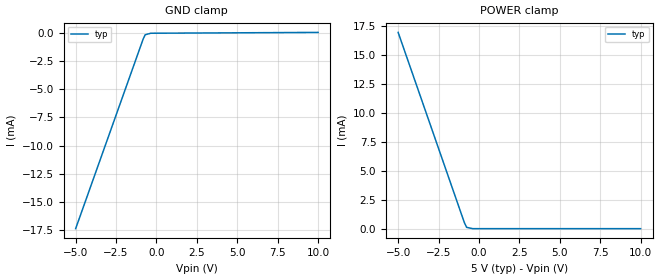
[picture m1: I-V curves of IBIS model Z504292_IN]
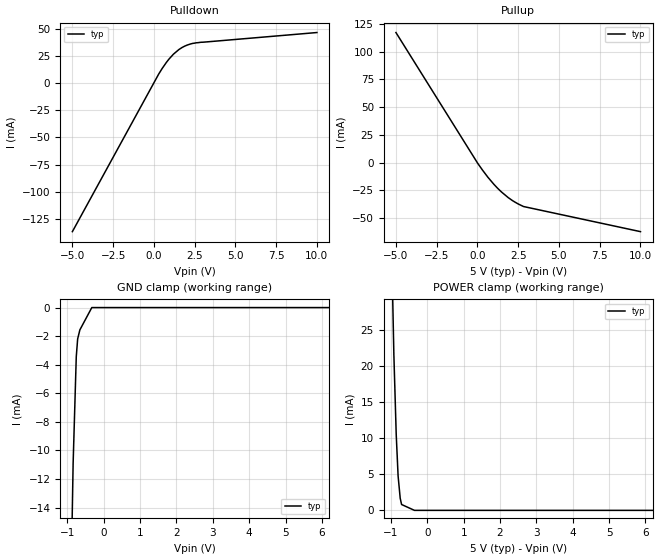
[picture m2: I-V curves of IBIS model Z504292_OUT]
| YOU ARE ONLY AUTHORIZED TO USE THIS SOFTWARE
| ACCORDING TO LICENSOR'S LICENSE RESTRICTIONS.
[IBIS Ver] 3.1
[File Name] mc54hct14aj.ibs
[File Rev] 2.0
[Source] Measured and created by ICX Technology
[Date] Friday 7/14/00 9:08:11 AM
[Copyright]
| (C) COPYRIGHT 1993-2000
| MENTOR GRAPHICS CORPORATION
| ICX STANDARD LIBRARY, ICX PROJECT MODELING,
| ICX CUSTOM MODELING, ICX VENDOR MODEL
| ALL RIGHTS RESERVED.
| THE FOLLOWING ARE TRADEMARKS OR SERVICE MARKS OF
| MENTOR GRAPHICS CORPORATION:ICX (R), ICX STANDARD
| LIBRARY(R), ICX PROJECT MODELING(R), ICX CUSTOM
| MODELING(R), qualityIBIS(TM), MODELVIEWER(TM),
| AND MODELEDITOR(TM)
| ALL COPIES OF SOFTWARE, INCLUDING BUT NOT LIMITED TO
| ANY MODIFICATIONS, ENHANCEMENTS OR DERIVATIVE WORKS,
| MUST CONTAIN ALL MENTOR GRAPHICS CORPORATION'S
| NOTICES AND LEGENDS, INCLUDING THOSE EMBEDDED IN
| SOFTWARE AND THOSE AFFIXED TO SOFTWARE MEDIUM
| AND CONTAINER, AS RECEIVED FROM MENTOR GRAPHICS
| CORPORATION.
|  ZAP Model Builder 2.7
[Component] MC54HCT14AJ
[Manufacturer] OnSemiconductor
[Package]
| variable   typ   min   max
R_pkg  .21ohms NA NA
L_pkg  4.543nH NA NA
C_pkg  1.059pF NA NA
[Pin] signal_name  model_name  R_pin  L_pin C_pin
1 A Z504292_IN .22 6.757n 1.432p
2 Y Z504292_OUT .212 4.757n 1.142p
3 A Z504292_IN .204 3.257n .852p
4 Y Z504292_OUT .196 2.257n .562p
5 A Z504292_IN .204 3.257n .852p
6 Y Z504292_OUT .212 4.757n 1.142p
7 GROUND GND .22 6.757n 1.432p
8 Y Z504292_OUT .22 6.757n 1.432p
9 A Z504292_IN .212 4.757n 1.142p
10 Y Z504292_OUT .204 3.257n .852p
11 A Z504292_IN .196 2.257n .562p
12 Y Z504292_OUT .204 3.257n .852p
13 A Z504292_IN .212 4.757n 1.142p
14 VCC POWER .22 6.757n 1.432p
| Models and submodels in the file (2): Z504292_IN (Input), Z504292_OUT (Output)
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| (C) COPYRIGHT 1993-2000
| MENTOR GRAPHICS CORPORATION
| ICX STANDARD LIBRARY, ICX PROJECT MODELING,
| ICX CUSTOM MODELING, ICX VENDOR MODEL
| ALL RIGHTS RESERVED.
| THE FOLLOWING ARE TRADEMARKS OR SERVICE MARKS OF
| MENTOR GRAPHICS CORPORATION:ICX (R), ICX STANDARD
| LIBRARY(R), ICX PROJECT MODELING(R), ICX CUSTOM
| MODELING(R), qualityIBIS(TM), MODELVIEWER(TM),
| AND MODELEDITOR(TM)
| ALL COPIES OF SOFTWARE, INCLUDING BUT NOT LIMITED TO
| ANY MODIFICATIONS, ENHANCEMENTS OR DERIVATIVE WORKS,
| MUST CONTAIN ALL MENTOR GRAPHICS CORPORATION'S
| NOTICES AND LEGENDS, INCLUDING THOSE EMBEDDED IN
| SOFTWARE AND THOSE AFFIXED TO SOFTWARE MEDIUM
| AND CONTAINER, AS RECEIVED FROM MENTOR GRAPHICS
| CORPORATION.
| Model Application Version 1.89 2/18/99.
[Model] Z504292_IN
Model_type Input
Vinl = 800.0mV
Vinh = 2.000V
C_comp 4.000pF NA NA
| variable typ   min   max
[Voltage Range] 5.000V NA NA
[GND Clamp Reference] 0.000V NA NA
[POWER Clamp Reference] 5.000V NA NA
[GND Clamp]
-5V       -17.39mA   NA         NA
-815.4mV  -505.2uA   NA         NA
-696.9mV  -152.6uA   NA         NA
-348.5mV  -19.09uA   NA         NA
10V       56.29uA    NA         NA
[POWER Clamp]
-5V       16.96mA    NA         NA
-901mV    515.6uA    NA         NA
-763mV    112.8uA    NA         NA
-381.5mV  0A         NA         NA
10V       0A         NA         NA
| (C) COPYRIGHT 1993-2000
| MENTOR GRAPHICS CORPORATION
| ICX STANDARD LIBRARY, ICX PROJECT MODELING,
| ICX CUSTOM MODELING, ICX VENDOR MODEL
| ALL RIGHTS RESERVED.
| THE FOLLOWING ARE TRADEMARKS OR SERVICE MARKS OF
| MENTOR GRAPHICS CORPORATION:ICX (R), ICX STANDARD
| LIBRARY(R), ICX PROJECT MODELING(R), ICX CUSTOM
| MODELING(R), qualityIBIS(TM), MODELVIEWER(TM),
| AND MODELEDITOR(TM)
| ALL COPIES OF SOFTWARE, INCLUDING BUT NOT LIMITED TO
| ANY MODIFICATIONS, ENHANCEMENTS OR DERIVATIVE WORKS,
| MUST CONTAIN ALL MENTOR GRAPHICS CORPORATION'S
| NOTICES AND LEGENDS, INCLUDING THOSE EMBEDDED IN
| SOFTWARE AND THOSE AFFIXED TO SOFTWARE MEDIUM
| AND CONTAINER, AS RECEIVED FROM MENTOR GRAPHICS
| CORPORATION.
| Model Application Version 1.89 2/18/99.
[Model] Z504292_OUT
Model_type Output
Vref=0.000V
Rref=500.0Mohms
Cref=50.00pF
Vmeas=1.300V
C_comp 8.000pF NA NA
| variable typ   min   max
[Voltage Range] 5.000V NA NA
[POWER Clamp Reference] 5.000V NA NA
[Pullup Reference] 5.000V NA NA
[Pulldown Reference] 0.000V NA NA
[GND Clamp Reference] 0.000V NA NA
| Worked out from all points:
|   slope of the pulldown table from 0 to 0.75 V, typ, clamps not added: 40.7 ohm
|   slope of the pullup table from 0 to 0.75 V, typ, clamps not added: 50.6 ohm
|   POWER clamp passes 1 mA (typ) near -0.72 V on its own axis
[GND Clamp]
-5V       -616mA     NA         NA
-843.1mV  -10.92mA   NA         NA
-756.7mV  -3.445mA   NA         NA
-718.6mV  -2.197mA   NA         NA
-657.7mV  -1.563mA   NA         NA
-328.9mV  0A         NA         NA
10V       0A         NA         NA
[Pulldown]
-5V       -136.6mA   NA         NA
293.5mV   8.189mA    NA         NA
921.4mV   21.92mA    NA         NA
1.201V    26.52mA    NA         NA
1.534V    30.77mA    NA         NA
2.055V    34.94mA    NA         NA
2.593V    36.96mA    NA         NA
10V       46.4mA     NA         NA
[Pullup]
-5V       117.3mA    NA         NA
13mV      -585.9uA   NA         NA
642mV     -13.24mA   NA         NA
1.017V    -19.72mA   NA         NA
1.472V    -26.48mA   NA         NA
1.888V    -31.59mA   NA         NA
2.827V    -39.63mA   NA         NA
10V       -62.28mA   NA         NA
[POWER Clamp]
-5V       1.241A     NA         NA
-1.062V   56.13mA    NA         NA
-921mV    21.65mA    NA         NA
-856mV    10.52mA    NA         NA
-804mV    4.754mA    NA         NA
-746mV    1.668mA    NA         NA
-708mV    811.3uA    NA         NA
-354mV    0A         NA         NA
10V       0A         NA         NA
[Ramp]
| variable typ min max
dV/dt_r 2.745/672.0p NA NA
dV/dt_f 2.745/738.8p NA NA
R_load = 500.0Ohms
